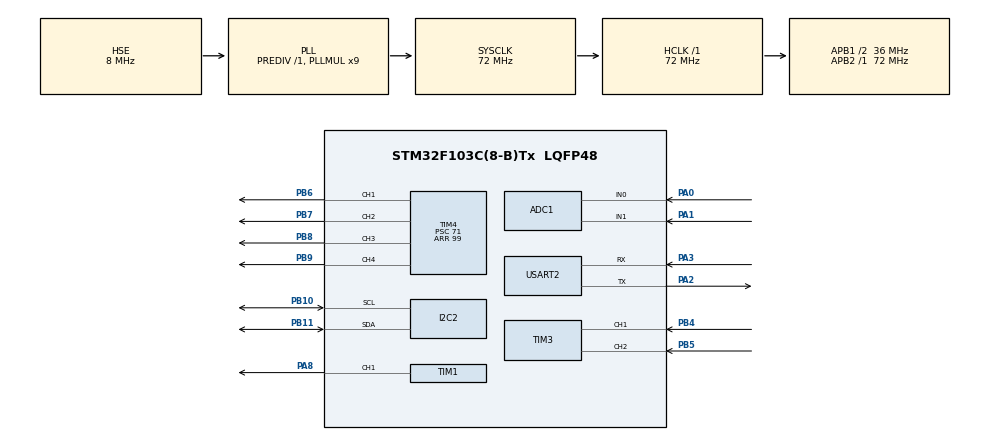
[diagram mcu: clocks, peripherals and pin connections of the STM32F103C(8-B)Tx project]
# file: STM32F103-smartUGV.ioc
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ADC1.Channel-0\#ChannelRegularConversion=ADC_CHANNEL_0
ADC1.Channel-1\#ChannelRegularConversion=ADC_CHANNEL_1
ADC1.ContinuousConvMode=DISABLE
ADC1.NbrOfConversion=2
ADC1.NbrOfConversionFlag=1
ADC1.Rank-0\#ChannelRegularConversion=1
ADC1.Rank-1\#ChannelRegularConversion=2
ADC1.SamplingTime-0\#ChannelRegularConversion=ADC_SAMPLETIME_71CYCLES_5
ADC1.SamplingTime-1\#ChannelRegularConversion=ADC_SAMPLETIME_71CYCLES_5
ADC1.master=1
I2C2.I2C_Mode=I2C_Fast
Mcu.Family=STM32F1
Mcu.Name=STM32F103C(8-B)Tx
Mcu.Package=LQFP48
NVIC.PriorityGroup=NVIC_PRIORITYGROUP_4
NVIC.USART2_IRQn=true\:0\:0\:false\:false\:true\:true\:true\:true
PA0-WKUP.Signal=ADCx_IN0
PA1.Signal=ADCx_IN1
PA13.Mode=Serial_Wire
PA13.Signal=SYS_JTMS-SWDIO
PA14.Mode=Serial_Wire
PA14.Signal=SYS_JTCK-SWCLK
PA2.Mode=Asynchronous
PA2.Signal=USART2_TX
PA3.Mode=Asynchronous
PA3.Signal=USART2_RX
PA8.Signal=S_TIM1_CH1
PB10.Mode=I2C
PB10.Signal=I2C2_SCL
PB11.Mode=I2C
PB11.Signal=I2C2_SDA
PB4.Signal=S_TIM3_CH1
PB5.Signal=S_TIM3_CH2
PB6.Signal=S_TIM4_CH1
PB7.Signal=S_TIM4_CH2
PB8.Signal=S_TIM4_CH3
PB9.Signal=S_TIM4_CH4
PD0-OSC_IN.Mode=HSE-External-Oscillator
PD0-OSC_IN.Signal=RCC_OSC_IN
PD1-OSC_OUT.Mode=HSE-External-Oscillator
PD1-OSC_OUT.Signal=RCC_OSC_OUT
ProjectManager.HeapSize=0x200
ProjectManager.StackSize=0x400
ProjectManager.TargetToolchain=STM32CubeIDE
RCC.ADCPresc=RCC_ADCPCLK2_DIV6
RCC.AHBFreq_Value=72000000
RCC.APB1CLKDivider=RCC_HCLK_DIV2
RCC.APB1Freq_Value=36000000
RCC.APB1TimFreq_Value=72000000
RCC.APB2Freq_Value=72000000
RCC.APB2TimFreq_Value=72000000
RCC.HCLKFreq_Value=72000000
RCC.PLLMUL=RCC_PLL_MUL9
RCC.PLLSourceVirtual=RCC_PLLSOURCE_HSE
RCC.SYSCLKFreq_VALUE=72000000
RCC.SYSCLKSource=RCC_SYSCLKSOURCE_PLLCLK
RCC.USBFreq_Value=72000000
SH.ADCx_IN0.0=ADC1_IN0,IN0
SH.ADCx_IN1.0=ADC1_IN1,IN1
SH.S_TIM1_CH1.0=TIM1_CH1,PWM Generation1 CH1
SH.S_TIM3_CH1.0=TIM3_CH1,Input_Capture1_from_TI1
SH.S_TIM3_CH2.0=TIM3_CH2,Input_Capture2_from_TI2
SH.S_TIM4_CH1.0=TIM4_CH1,PWM Generation1 CH1
SH.S_TIM4_CH2.0=TIM4_CH2,PWM Generation2 CH2
SH.S_TIM4_CH3.0=TIM4_CH3,PWM Generation3 CH3
SH.S_TIM4_CH4.0=TIM4_CH4,PWM Generation4 CH4
TIM1.AutoReloadPreload=TIM_AUTORELOAD_PRELOAD_ENABLE
TIM1.Channel-PWM\ Generation1\ CH1=TIM_CHANNEL_1
TIM1.Period=19999
TIM1.Prescaler=71
TIM1.Pulse-PWM\ Generation1\ CH1=14200
TIM2.Prescaler=71
TIM3.Channel-Input_Capture1_from_TI1=TIM_CHANNEL_1
TIM3.Channel-Input_Capture2_from_TI2=TIM_CHANNEL_2
TIM3.ICFilter_CH1=4
TIM4.AutoReloadPreload=TIM_AUTORELOAD_PRELOAD_ENABLE
TIM4.Channel-PWM\ Generation1\ CH1=TIM_CHANNEL_1
TIM4.Channel-PWM\ Generation2\ CH2=TIM_CHANNEL_2
TIM4.Channel-PWM\ Generation3\ CH3=TIM_CHANNEL_3
TIM4.Channel-PWM\ Generation4\ CH4=TIM_CHANNEL_4
TIM4.Period=99
TIM4.Prescaler=71
USART2.VirtualMode=VM_ASYNC
VP_TIM2_VS_ClockSourceINT.Mode=Internal
VP_TIM3_VS_ClockSourceINT.Mode=Internal
VP_TIM4_VS_ClockSourceINT.Mode=Internal
board=custom

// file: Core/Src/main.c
/* USER CODE BEGIN Header */
/**
  ******************************************************************************
  * @file           : main.c
  * @brief          : Main program body
  ******************************************************************************
  * @attention
  *
  * Copyright (c) 2026 STMicroelectronics.
  * All rights reserved.
  *
  * This software is licensed under terms that can be found in the LICENSE file
  * in the root directory of this software component.
  * If no LICENSE file comes with this software, it is provided AS-IS.
  *
  ******************************************************************************
  */
/* USER CODE END Header */
#include "main.h"
#include "adc.h"
#include "i2c.h"
#include "tim.h"
#include "usart.h"
#include "gpio.h"

/* USER CODE BEGIN Includes */
#include "telemetry_module.h"
/* USER CODE END Includes */

/* USER CODE BEGIN PV */
// Виділяємо пам'ять під стан робота. Початковий стан — СТОП.
volatile RobotState_t current_robot_state = ROBOT_STATE_STOPPED;

// Виділяємо пам'ять під маршрут робота.
volatile PathPoint_t robot_path[MAX_PATH_POINTS];
volatile uint8_t robot_path_size = 0;
volatile uint8_t robot_new_path_ready = 0;

//Організація асинхронного таймера відправки (50 мс)
uint32_t last_telemetry_tick = 0;
const uint32_t TELEMETRY_INTERVAL_MS = 50;

// Глобальні змінні стану робота (для демонстрації інтеграції)
float robot_x = 4.0f;
float robot_y = 4.0f;
float robot_theta_deg = 90.0f;
uint8_t robot_battery_pct = 80;
/* USER CODE END PV */

void SystemClock_Config(void);
/* USER CODE BEGIN PFP */

// Асинхронна відправка телеметрії (викликається по таймеру кожні 50 мс)
void STM32_SendTelemetry(float x, float y, float theta, uint8_t battery, RobotState_t state) {
    UartTelemetryPacket_t pkt;
    pkt.header1 = 0xDE;
    pkt.header2 = 0x01;
    pkt.x = x;
    pkt.y = y;
    pkt.theta_deg = theta;
    pkt.battery_pct = battery;
    pkt.status_code = (uint8_t)state;

    // Рахуємо від першого корисного поля (x) до самого кінця структури
    uint16_t data_size = sizeof(UartTelemetryPacket_t) - 3;
    pkt.crc8 = STM32_GetCRC8((uint8_t*)&pkt.x, data_size);

    // Побайтова швидка відправка в регістр USART2
    uint8_t *pData = (uint8_t*)&pkt;
    for (uint8_t i = 0; i < sizeof(UartTelemetryPacket_t); i++) {
        while ((USART2->SR & USART_SR_TXE) == 0);
        USART2->DR = pData[i];
    }
}

// Асинхронна відправка однієї точки сканування перешкод
void STM32_SendScanPoint(int16_t angle, uint16_t distance_mm, uint8_t is_last) {
    UartScanPacket_t pkt;
    pkt.header1 = 0xDE;
    pkt.header2 = 0x02;
    pkt.angle = angle;
    pkt.distance_mm = distance_mm;
    pkt.is_end_of_scan = is_last;

    // Рахуємо від першого корисного поля (angle) до самого кінця структури
    uint16_t data_size = sizeof(UartScanPacket_t) - 3;
    pkt.crc8 = STM32_GetCRC8((uint8_t*)&pkt.angle, data_size);

    uint8_t *pData = (uint8_t*)&pkt;
    for (uint8_t i = 0; i < sizeof(UartScanPacket_t); i++) {
        while ((USART2->SR & USART_SR_TXE) == 0);
        USART2->DR = pData[i];
    }
}

/* USER CODE END PFP */

int main(void)
{

  /* MCU Configuration--------------------------------------------------------*/

  /* Reset of all peripherals, Initializes the Flash interface and the Systick. */
  HAL_Init();

  /* Configure the system clock */
  SystemClock_Config();

  /* Initialize all configured peripherals */
  MX_GPIO_Init();
  MX_TIM1_Init();
  MX_TIM4_Init();
  MX_ADC1_Init();
  MX_I2C2_Init();
  MX_TIM2_Init();
  MX_TIM3_Init();
  MX_USART2_UART_Init();
  /* USER CODE BEGIN 2 */
  __HAL_UART_ENABLE_IT(&huart2, UART_IT_RXNE); // Вмикаємо переривання по прийому байта
  Telemetry_Init(); // Ініціалізуємо таймери, одометрію та сенсори
  /* USER CODE END 2 */

  /* Infinite loop */
  /* USER CODE BEGIN WHILE */
  while (1)
  {

		// 1. Постійно оновлюємо математику телеметрії (всередині неблокуючі автомати)
		Telemetry_Update();

		// 2. Асинхронний таймер відправки результатів на RPi5 через ESP32 кожні 50 мс
		uint32_t current_tick = HAL_GetTick();
		if (current_tick - last_telemetry_tick >= TELEMETRY_INTERVAL_MS)
		{
			last_telemetry_tick = current_tick;

			// Відправляємо чисті, синхронізовані дані з модуля телеметрії
			STM32_SendTelemetry(robot_x, robot_y, robot_theta_deg, robot_battery_pct, current_robot_state);
		}

		// Тут буде логіка Модуля Пілота...

      /* USER CODE END WHILE */
  }
}

void SystemClock_Config(void)
{
  RCC_OscInitTypeDef RCC_OscInitStruct = {0};
  RCC_ClkInitTypeDef RCC_ClkInitStruct = {0};
  RCC_PeriphCLKInitTypeDef PeriphClkInit = {0};

  /** Initializes the RCC Oscillators according to the specified parameters
  * in the RCC_OscInitTypeDef structure.
  */
  RCC_OscInitStruct.OscillatorType = RCC_OSCILLATORTYPE_HSE;
  RCC_OscInitStruct.HSEState = RCC_HSE_ON;
  RCC_OscInitStruct.HSEPredivValue = RCC_HSE_PREDIV_DIV1;
  RCC_OscInitStruct.HSIState = RCC_HSI_ON;
  RCC_OscInitStruct.PLL.PLLState = RCC_PLL_ON;
  RCC_OscInitStruct.PLL.PLLSource = RCC_PLLSOURCE_HSE;
  RCC_OscInitStruct.PLL.PLLMUL = RCC_PLL_MUL9;
  if (HAL_RCC_OscConfig(&RCC_OscInitStruct) != HAL_OK)
  {
    Error_Handler();
  }

  /** Initializes the CPU, AHB and APB buses clocks
  */
  RCC_ClkInitStruct.ClockType = RCC_CLOCKTYPE_HCLK|RCC_CLOCKTYPE_SYSCLK
                              |RCC_CLOCKTYPE_PCLK1|RCC_CLOCKTYPE_PCLK2;
  RCC_ClkInitStruct.SYSCLKSource = RCC_SYSCLKSOURCE_PLLCLK;
  RCC_ClkInitStruct.AHBCLKDivider = RCC_SYSCLK_DIV1;
  RCC_ClkInitStruct.APB1CLKDivider = RCC_HCLK_DIV2;
  RCC_ClkInitStruct.APB2CLKDivider = RCC_HCLK_DIV1;

  if (HAL_RCC_ClockConfig(&RCC_ClkInitStruct, FLASH_LATENCY_2) != HAL_OK)
  {
    Error_Handler();
  }
  PeriphClkInit.PeriphClockSelection = RCC_PERIPHCLK_ADC;
  PeriphClkInit.AdcClockSelection = RCC_ADCPCLK2_DIV6;
  if (HAL_RCCEx_PeriphCLKConfig(&PeriphClkInit) != HAL_OK)
  {
    Error_Handler();
  }
}

void Error_Handler(void)
{
  __disable_irq();
  while (1)
  {
  }
}
